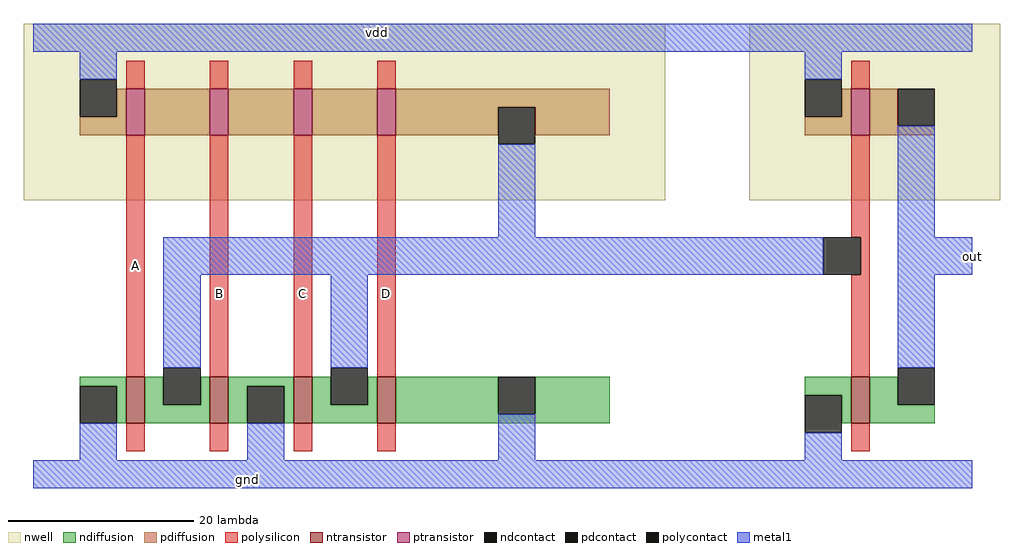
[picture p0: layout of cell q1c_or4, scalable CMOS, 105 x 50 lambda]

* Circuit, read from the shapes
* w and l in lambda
.subckt q1c_or4 A B C D gnd out vdd
M1 n1 A gnd VSUBS nfet w=5 l=2
M2 gnd B n1 VSUBS nfet w=5 l=2
M3 n1 C gnd VSUBS nfet w=5 l=2
M4 gnd D n1 VSUBS nfet w=5 l=2
M5 out n1 gnd VSUBS nfet w=5 l=2
M6 n2 A vdd n3 pfet w=5 l=2
M7 n4 B n2 n3 pfet w=5 l=2
M8 n5 C n4 n3 pfet w=5 l=2
M9 n1 D n5 n3 pfet w=5 l=2
M10 out n1 vdd n6 pfet w=5 l=2
.ends

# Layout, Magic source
magic
tech scmos
<< nwell >>
rect -332 242 -263 261
rect -254 242 -227 261
<< ntransistor >>
rect -321 218 -319 223
rect -312 218 -310 223
rect -303 218 -301 223
rect -294 218 -292 223
rect -243 218 -241 223
<< ptransistor >>
rect -321 249 -319 254
rect -312 249 -310 254
rect -303 249 -301 254
rect -294 249 -292 254
rect -243 249 -241 254
<< ndiffusion >>
rect -326 222 -321 223
rect -322 218 -321 222
rect -319 220 -317 223
rect -313 220 -312 223
rect -319 218 -312 220
rect -310 222 -303 223
rect -310 218 -308 222
rect -304 218 -303 222
rect -301 220 -299 223
rect -295 220 -294 223
rect -301 218 -294 220
rect -292 219 -281 223
rect -277 219 -269 223
rect -292 218 -269 219
rect -248 221 -243 223
rect -244 218 -243 221
rect -241 220 -238 223
rect -241 218 -234 220
<< pdiffusion >>
rect -322 251 -321 254
rect -326 249 -321 251
rect -319 249 -312 254
rect -310 249 -303 254
rect -301 249 -294 254
rect -292 252 -269 254
rect -292 249 -281 252
rect -277 249 -269 252
rect -244 251 -243 254
rect -248 249 -243 251
rect -241 250 -238 254
rect -241 249 -234 250
<< ndcontact >>
rect -326 218 -322 222
rect -317 220 -313 224
rect -308 218 -304 222
rect -299 220 -295 224
rect -281 219 -277 223
rect -248 217 -244 221
rect -238 220 -234 224
<< pdcontact >>
rect -326 251 -322 255
rect -281 248 -277 252
rect -248 251 -244 255
rect -238 250 -234 254
<< polysilicon >>
rect -321 254 -319 257
rect -312 254 -310 257
rect -303 254 -301 257
rect -294 254 -292 257
rect -321 223 -319 249
rect -312 223 -310 249
rect -303 223 -301 249
rect -294 223 -292 249
rect -243 254 -241 257
rect -243 238 -241 249
rect -242 234 -241 238
rect -243 223 -241 234
rect -321 215 -319 218
rect -312 215 -310 218
rect -303 215 -301 218
rect -294 215 -292 218
rect -243 215 -241 218
<< polycontact >>
rect -246 234 -242 238
<< metal1 >>
rect -331 258 -230 261
rect -326 255 -322 258
rect -248 255 -244 258
rect -281 238 -277 248
rect -238 238 -234 250
rect -317 234 -246 238
rect -238 234 -230 238
rect -317 224 -313 234
rect -299 224 -295 234
rect -326 214 -322 218
rect -238 224 -234 234
rect -308 214 -304 218
rect -281 214 -277 219
rect -248 214 -244 217
rect -331 211 -230 214
<< labels >>
rlabel metal1 -308 212 -308 212 1 gnd
rlabel metal1 -294 260 -294 260 5 vdd
rlabel polysilicon -320 235 -320 235 1 A
rlabel polysilicon -311 232 -311 232 1 B
rlabel polysilicon -302 232 -302 232 1 C
rlabel polysilicon -293 232 -293 232 1 D
rlabel metal1 -230 234 -230 238 7 out
<< end >>
